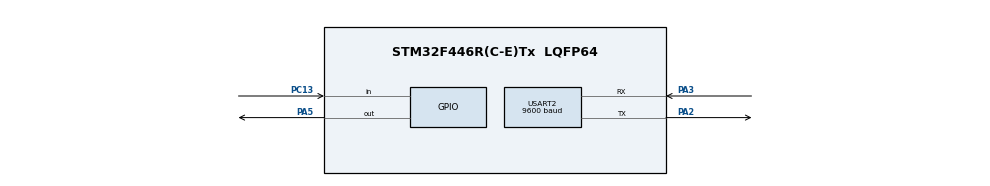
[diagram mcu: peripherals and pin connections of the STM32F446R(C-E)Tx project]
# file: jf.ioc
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Mcu.Family=STM32F4
Dma.USART2_TX.1.Priority=DMA_PRIORITY_LOW
RCC.CortexFreq_Value=16000000
Dma.USART2_TX.1.FIFOMode=DMA_FIFOMODE_DISABLE
Dma.USART2_TX.1.MemInc=DMA_MINC_ENABLE
PC13.Signal=GPIO_Input
Dma.USART2_RX.0.Direction=DMA_PERIPH_TO_MEMORY
Dma.USART2_TX.1.PeriphDataAlignment=DMA_PDATAALIGN_BYTE
USART2.BaudRate=9600
ProjectManager.StackSize=0x400
Dma.USART2_RX.0.Mode=DMA_NORMAL
PA3.Mode=Asynchronous
ProjectManager.TargetToolchain=STM32CubeIDE
NVIC.DMA1_Stream5_IRQn=true\:0\:0\:false\:false\:true\:false\:true
Dma.USART2_RX.0.Priority=DMA_PRIORITY_LOW
Dma.USART2_RX.0.PeriphDataAlignment=DMA_PDATAALIGN_BYTE
Dma.USART2_TX.1.Mode=DMA_NORMAL
RCC.USBFreq_Value=96000000
PA5.Signal=GPIO_Output
Dma.USART2_TX.1.PeriphInc=DMA_PINC_DISABLE
board=custom
RCC.VCOOutputFreq_Value=192000000
Dma.USART2_TX.1.Direction=DMA_MEMORY_TO_PERIPH
Dma.USART2_RX.0.MemDataAlignment=DMA_MDATAALIGN_BYTE
Dma.USART2_TX.1.Instance=DMA1_Stream6
Dma.USART2_RX.0.Instance=DMA1_Stream5
PC13.GPIO_PuPd=GPIO_NOPULL
Dma.USART2_RX.0.MemInc=DMA_MINC_ENABLE
Mcu.Name=STM32F446R(C-E)Tx
PA2.Signal=USART2_TX
Mcu.Package=LQFP64
Dma.USART2_RX.0.PeriphInc=DMA_PINC_DISABLE
USART2.VirtualMode=VM_ASYNC
Dma.USART2_RX.0.FIFOMode=DMA_FIFOMODE_DISABLE
ProjectManager.HeapSize=0x200
NVIC.PriorityGroup=NVIC_PRIORITYGROUP_4
Dma.Request1=USART2_TX
PA2.Mode=Asynchronous
Dma.USART2_TX.1.MemDataAlignment=DMA_MDATAALIGN_BYTE
Dma.Request0=USART2_RX
NVIC.DMA1_Stream6_IRQn=true\:0\:0\:false\:false\:true\:false\:true
PA3.Signal=USART2_RX

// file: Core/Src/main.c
/* USER CODE BEGIN Header */
/**
  ******************************************************************************
  * @file           : main.c
  * @brief          : Main program body
  ******************************************************************************
  * @attention
  *
  * <h2><center>&copy; Copyright (c) 2021 STMicroelectronics.
  * All rights reserved.</center></h2>
  *
  * This software component is licensed by ST under BSD 3-Clause license,
  * the "License"; You may not use this file except in compliance with the
  * License. You may obtain a copy of the License at:
  *                        opensource.org/licenses/BSD-3-Clause
  *
  ******************************************************************************
  */
/* USER CODE END Header */
#include "main.h"

/* USER CODE BEGIN Includes */
#include <stdio.h>
/* USER CODE END Includes */

UART_HandleTypeDef huart2;
DMA_HandleTypeDef hdma_usart2_rx;
DMA_HandleTypeDef hdma_usart2_tx;

void SystemClock_Config(void);
static void MX_GPIO_Init(void);
static void MX_DMA_Init(void);
static void MX_USART2_UART_Init(void);

/* USER CODE BEGIN 0 */
uint8_t UART_rxBuffer[4] = {0,0,0,0};
char uart_buf[50];
int uart_buf_len;
/* USER CODE END 0 */

int main(void)
{

  /* MCU Configuration--------------------------------------------------------*/

  /* Reset of all peripherals, Initializes the Flash interface and the Systick. */
  HAL_Init();

  /* Configure the system clock */
  SystemClock_Config();

  /* Initialize all configured peripherals */
  MX_GPIO_Init();
  MX_DMA_Init();
  MX_USART2_UART_Init();
  /* USER CODE BEGIN 2 */
  HAL_UART_Receive_DMA(&huart2, UART_rxBuffer, 4);
  uart_buf_len = sprintf(uart_buf, "1111");
  HAL_UART_Transmit(&huart2, (uint8_t *)uart_buf, uart_buf_len, 100);
  /* USER CODE END 2 */

  /* Infinite loop */
  /* USER CODE BEGIN WHILE */
  while (1)
  {
	  if(!HAL_GPIO_ReadPin(GPIOC, GPIO_PIN_13))
	  {

		//HAL_UART_Transmit(&huart2, UART_rxBuffer, 12, 100);
		uart_buf_len = sprintf(uart_buf, "0000");
		HAL_UART_Transmit(&huart2, (uint8_t *)uart_buf, uart_buf_len, 100);
	  }
	  else
	  {

	  }

	  if(UART_rxBuffer[0] == '1') {
		  // Set The LED ON!
		  HAL_GPIO_WritePin(GPIOA, GPIO_PIN_5, GPIO_PIN_SET);
	  }
	  else if (UART_rxBuffer[0] == '0') {
		  // Else .. Turn LED OFF!
		  HAL_GPIO_WritePin(GPIOA, GPIO_PIN_5, GPIO_PIN_RESET);
	  }

	  //HAL_Delay(500);

    /* USER CODE END WHILE */

  }
}

void SystemClock_Config(void)
{
  RCC_OscInitTypeDef RCC_OscInitStruct = {0};
  RCC_ClkInitTypeDef RCC_ClkInitStruct = {0};

  /** Configure the main internal regulator output voltage
  */
  __HAL_RCC_PWR_CLK_ENABLE();
  __HAL_PWR_VOLTAGESCALING_CONFIG(PWR_REGULATOR_VOLTAGE_SCALE3);
  /** Initializes the RCC Oscillators according to the specified parameters
  * in the RCC_OscInitTypeDef structure.
  */
  RCC_OscInitStruct.OscillatorType = RCC_OSCILLATORTYPE_HSI;
  RCC_OscInitStruct.HSIState = RCC_HSI_ON;
  RCC_OscInitStruct.HSICalibrationValue = RCC_HSICALIBRATION_DEFAULT;
  RCC_OscInitStruct.PLL.PLLState = RCC_PLL_NONE;
  if (HAL_RCC_OscConfig(&RCC_OscInitStruct) != HAL_OK)
  {
    Error_Handler();
  }
  /** Initializes the CPU, AHB and APB buses clocks
  */
  RCC_ClkInitStruct.ClockType = RCC_CLOCKTYPE_HCLK|RCC_CLOCKTYPE_SYSCLK
                              |RCC_CLOCKTYPE_PCLK1|RCC_CLOCKTYPE_PCLK2;
  RCC_ClkInitStruct.SYSCLKSource = RCC_SYSCLKSOURCE_HSI;
  RCC_ClkInitStruct.AHBCLKDivider = RCC_SYSCLK_DIV1;
  RCC_ClkInitStruct.APB1CLKDivider = RCC_HCLK_DIV1;
  RCC_ClkInitStruct.APB2CLKDivider = RCC_HCLK_DIV1;

  if (HAL_RCC_ClockConfig(&RCC_ClkInitStruct, FLASH_LATENCY_0) != HAL_OK)
  {
    Error_Handler();
  }
}

static void MX_USART2_UART_Init(void)
{

  huart2.Instance = USART2;
  huart2.Init.BaudRate = 9600;
  huart2.Init.WordLength = UART_WORDLENGTH_8B;
  huart2.Init.StopBits = UART_STOPBITS_1;
  huart2.Init.Parity = UART_PARITY_NONE;
  huart2.Init.Mode = UART_MODE_TX_RX;
  huart2.Init.HwFlowCtl = UART_HWCONTROL_NONE;
  huart2.Init.OverSampling = UART_OVERSAMPLING_16;
  if (HAL_UART_Init(&huart2) != HAL_OK)
  {
    Error_Handler();
  }

}

static void MX_DMA_Init(void)
{

  /* DMA controller clock enable */
  __HAL_RCC_DMA1_CLK_ENABLE();

  /* DMA interrupt init */
  /* DMA1_Stream5_IRQn interrupt configuration */
  HAL_NVIC_SetPriority(DMA1_Stream5_IRQn, 0, 0);
  HAL_NVIC_EnableIRQ(DMA1_Stream5_IRQn);
  /* DMA1_Stream6_IRQn interrupt configuration */
  HAL_NVIC_SetPriority(DMA1_Stream6_IRQn, 0, 0);
  HAL_NVIC_EnableIRQ(DMA1_Stream6_IRQn);

}

static void MX_GPIO_Init(void)
{
  GPIO_InitTypeDef GPIO_InitStruct = {0};

  /* GPIO Ports Clock Enable */
  __HAL_RCC_GPIOC_CLK_ENABLE();
  __HAL_RCC_GPIOA_CLK_ENABLE();

  /*Configure GPIO pin Output Level */
  HAL_GPIO_WritePin(GPIOA, GPIO_PIN_5, GPIO_PIN_RESET);

  /*Configure GPIO pin : PC13 */
  GPIO_InitStruct.Pin = GPIO_PIN_13;
  GPIO_InitStruct.Mode = GPIO_MODE_INPUT;
  GPIO_InitStruct.Pull = GPIO_NOPULL;
  HAL_GPIO_Init(GPIOC, &GPIO_InitStruct);

  /*Configure GPIO pin : PA5 */
  GPIO_InitStruct.Pin = GPIO_PIN_5;
  GPIO_InitStruct.Mode = GPIO_MODE_OUTPUT_PP;
  GPIO_InitStruct.Pull = GPIO_NOPULL;
  GPIO_InitStruct.Speed = GPIO_SPEED_FREQ_LOW;
  HAL_GPIO_Init(GPIOA, &GPIO_InitStruct);

}

/* USER CODE BEGIN 4 */
void HAL_UART_RxCpltCallback(UART_HandleTypeDef *huart)
{
	HAL_UART_Transmit(&huart2, UART_rxBuffer, 4, 100);
	//uart_buf_len = sprintf(uart_buf, "\n");
	//HAL_UART_Transmit(&huart2, (uint8_t *)uart_buf, uart_buf_len, 100);
	HAL_UART_Receive_DMA(&huart2, UART_rxBuffer, 4);
}
/* USER CODE END 4 */

void Error_Handler(void)
{
  __disable_irq();
  while (1)
  {
  }
}

/************************ (C) COPYRIGHT STMicroelectronics *****END OF FILE****/
